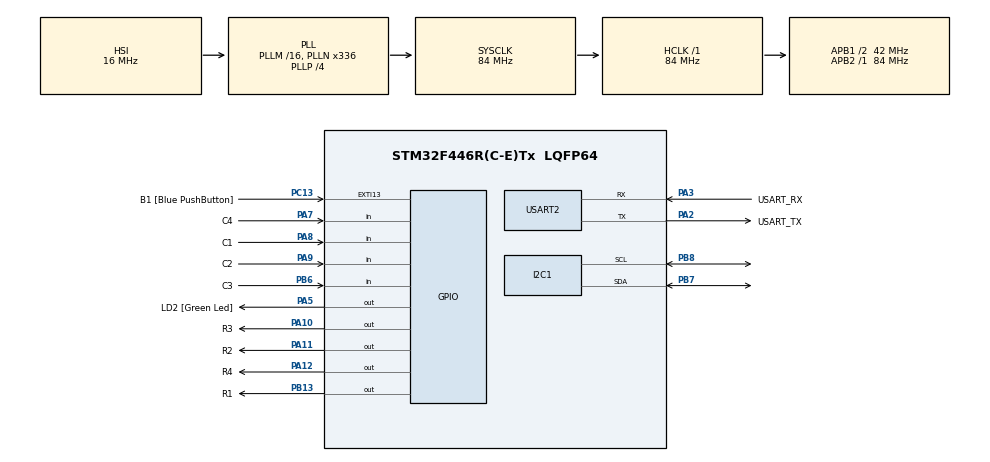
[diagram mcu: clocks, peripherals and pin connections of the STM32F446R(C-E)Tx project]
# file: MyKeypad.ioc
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Mcu.Family=STM32F4
Mcu.Name=STM32F446R(C-E)Tx
Mcu.Package=LQFP64
NVIC.PriorityGroup=NVIC_PRIORITYGROUP_0
PA10.GPIO_Label=R3
PA10.Signal=GPIO_Output
PA11.GPIO_Label=R2
PA11.Signal=GPIO_Output
PA12.GPIO_Label=R4
PA12.Signal=GPIO_Output
PA13.GPIO_Label=TMS
PA13.Mode=Serial_Wire
PA13.Signal=SYS_JTMS-SWDIO
PA14.GPIO_Label=TCK
PA14.Mode=Serial_Wire
PA14.Signal=SYS_JTCK-SWCLK
PA2.GPIO_Label=USART_TX
PA2.Mode=Asynchronous
PA2.Signal=USART2_TX
PA3.GPIO_Label=USART_RX
PA3.Mode=Asynchronous
PA3.Signal=USART2_RX
PA5.GPIO_Label=LD2 [Green Led]
PA5.Signal=GPIO_Output
PA7.GPIO_Label=C4
PA7.GPIO_PuPd=GPIO_PULLUP
PA7.Signal=GPIO_Input
PA8.GPIO_Label=C1
PA8.GPIO_PuPd=GPIO_PULLUP
PA8.Signal=GPIO_Input
PA9.GPIO_Label=C2
PA9.GPIO_PuPd=GPIO_PULLUP
PA9.Signal=GPIO_Input
PB13.GPIO_Label=R1
PB13.Signal=GPIO_Output
PB3.GPIO_Label=SWO
PB3.Signal=SYS_JTDO-SWO
PB6.GPIO_Label=C3
PB6.GPIO_PuPd=GPIO_PULLUP
PB6.Signal=GPIO_Input
PB7.Mode=I2C
PB7.Signal=I2C1_SDA
PB8.Mode=I2C
PB8.Signal=I2C1_SCL
PC13.GPIO_Label=B1 [Blue PushButton]
PC13.GPIO_ModeDefaultEXTI=GPIO_MODE_IT_FALLING
PC13.Signal=GPXTI13
PC14-OSC32_IN.Mode=LSE-External-Oscillator
PC14-OSC32_IN.Signal=RCC_OSC32_IN
PC15-OSC32_OUT.Mode=LSE-External-Oscillator
PC15-OSC32_OUT.Signal=RCC_OSC32_OUT
PH0-OSC_IN.Mode=HSE-External-Oscillator
PH0-OSC_IN.Signal=RCC_OSC_IN
PH1-OSC_OUT.Mode=HSE-External-Oscillator
PH1-OSC_OUT.Signal=RCC_OSC_OUT
ProjectManager.HeapSize=0x200
ProjectManager.StackSize=0x400
ProjectManager.TargetToolchain=STM32CubeIDE
RCC.48MHZClocksFreq_Value=84000000
RCC.AHBFreq_Value=84000000
RCC.APB1CLKDivider=RCC_HCLK_DIV2
RCC.APB1Freq_Value=42000000
RCC.APB1TimFreq_Value=84000000
RCC.APB2Freq_Value=84000000
RCC.APB2TimFreq_Value=84000000
RCC.CortexFreq_Value=84000000
RCC.FLatency-AdvancedSettings=FLASH_LATENCY_2
RCC.HCLKFreq_Value=84000000
RCC.HSE_VALUE=8000000
RCC.HSI_VALUE=16000000
RCC.PLLN=336
RCC.PLLP=RCC_PLLP_DIV4
RCC.SYSCLKFreq_VALUE=84000000
RCC.SYSCLKSource=RCC_SYSCLKSOURCE_PLLCLK
RCC.USBFreq_Value=168000000
RCC.VCOOutputFreq_Value=336000000
USART2.VirtualMode=VM_ASYNC
board=NUCLEO-F446RE

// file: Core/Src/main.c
/* USER CODE BEGIN Header */
/**
  ******************************************************************************
  * @file           : main.c
  * @brief          : Main program body
  ******************************************************************************
  ** This notice applies to any and all portions of this file
  * that are not between comment pairs USER CODE BEGIN and
  * USER CODE END. Other portions of this file, whether
  * inserted by the user or by software development tools
  * are owned by their respective copyright owners.
  *
  * COPYRIGHT(c) 2019 STMicroelectronics
  *
  * Redistribution and use in source and binary forms, with or without modification,
  * are permitted provided that the following conditions are met:
  *   1. Redistributions of source code must retain the above copyright notice,
  *      this list of conditions and the following disclaimer.
  *   2. Redistributions in binary form must reproduce the above copyright notice,
  *      this list of conditions and the following disclaimer in the documentation
  *      and/or other materials provided with the distribution.
  *   3. Neither the name of STMicroelectronics nor the names of its contributors
  *      may be used to endorse or promote products derived from this software
  *      without specific prior written permission.
  *
  * THIS SOFTWARE IS PROVIDED BY THE COPYRIGHT HOLDERS AND CONTRIBUTORS "AS IS"
  * AND ANY EXPRESS OR IMPLIED WARRANTIES, INCLUDING, BUT NOT LIMITED TO, THE
  * IMPLIED WARRANTIES OF MERCHANTABILITY AND FITNESS FOR A PARTICULAR PURPOSE ARE
  * DISCLAIMED. IN NO EVENT SHALL THE COPYRIGHT HOLDER OR CONTRIBUTORS BE LIABLE
  * FOR ANY DIRECT, INDIRECT, INCIDENTAL, SPECIAL, EXEMPLARY, OR CONSEQUENTIAL
  * DAMAGES (INCLUDING, BUT NOT LIMITED TO, PROCUREMENT OF SUBSTITUTE GOODS OR
  * SERVICES; LOSS OF USE, DATA, OR PROFITS; OR BUSINESS INTERRUPTION) HOWEVER
  * CAUSED AND ON ANY THEORY OF LIABILITY, WHETHER IN CONTRACT, STRICT LIABILITY,
  * OR TORT (INCLUDING NEGLIGENCE OR OTHERWISE) ARISING IN ANY WAY OUT OF THE USE
  * OF THIS SOFTWARE, EVEN IF ADVISED OF THE POSSIBILITY OF SUCH DAMAGE.
  *
  ******************************************************************************
  */
/* USER CODE END Header */
#include "main.h"

/* USER CODE BEGIN Includes */
//#include "i2c-lcd.h"
#include "i2c-lcd.h"
/* USER CODE END Includes */

/* USER CODE BEGIN PD */
#define R1_PORT GPIOB
#define R1_PIN GPIO_PIN_13

#define R2_PORT GPIOA
#define R2_PIN GPIO_PIN_11

#define R3_PORT GPIOA
#define R3_PIN GPIO_PIN_10

#define R4_PORT GPIOA
#define R4_PIN GPIO_PIN_12

#define C1_PORT GPIOA
#define C1_PIN GPIO_PIN_8

#define C2_PORT GPIOA
#define C2_PIN GPIO_PIN_9

#define C3_PORT GPIOB
#define C3_PIN GPIO_PIN_6

#define C4_PORT GPIOA
#define C4_PIN GPIO_PIN_7

int cursor_row = 0;
int cursor_col = 0;
int keystroke = 0;
char buf[7];

/* USER CODE END PD */

I2C_HandleTypeDef hi2c1;

UART_HandleTypeDef huart2;

void SystemClock_Config(void);
static void MX_GPIO_Init(void);
static void MX_USART2_UART_Init(void);
static void MX_I2C1_Init(void);

/* USER CODE BEGIN 0 */
uint8_t key;

char read_keypad (void);

/* USER CODE END 0 */
int main(void)
{

  /* MCU Configuration--------------------------------------------------------*/

  /* Reset of all peripherals, Initializes the Flash interface and the Systick. */
  HAL_Init();

  /* Configure the system clock */
  SystemClock_Config();

  /* Initialize all configured peripherals */
  MX_GPIO_Init();
  MX_USART2_UART_Init();
  MX_I2C1_Init();
  /* USER CODE BEGIN 2 */
	lcd_init();
	//lcd_send_cmd(0x80);

	lcd_send_string("Enter your roll: ");

	cursor_row = 1;
	cursor_col = 4;
	keystroke = 0;
	int flag = 0;
  /* USER CODE END 2 */

  /* Infinite loop */
  while (1)
  {

    /* USER CODE BEGIN 3 */
		key = read_keypad ();

		if (key!=0x01)
		{
			//lcd_send_cmd(0x85);
			lcd_put_cur(1, cursor_col);
			lcd_send_data(key);
			cursor_col = cursor_col + 1;

			buf[keystroke] = key;
			keystroke = keystroke + 1;
		}
		if(keystroke == 7) flag = 1;
		if(flag){
			lcd_clear();
			lcd_put_cur(0,0);
			lcd_send_string("Welcome ");
			lcd_put_cur(1,8);
			lcd_send_string(buf);
			flag = 0;
			keystroke = 0;
		}

  }
  /* USER CODE END 3 */
}

void SystemClock_Config(void)
{
  RCC_OscInitTypeDef RCC_OscInitStruct = {0};
  RCC_ClkInitTypeDef RCC_ClkInitStruct = {0};

  /** Configure the main internal regulator output voltage
  */
  __HAL_RCC_PWR_CLK_ENABLE();
  __HAL_PWR_VOLTAGESCALING_CONFIG(PWR_REGULATOR_VOLTAGE_SCALE3);

  /** Initializes the RCC Oscillators according to the specified parameters
  * in the RCC_OscInitTypeDef structure.
  */
  RCC_OscInitStruct.OscillatorType = RCC_OSCILLATORTYPE_HSI;
  RCC_OscInitStruct.HSIState = RCC_HSI_ON;
  RCC_OscInitStruct.HSICalibrationValue = RCC_HSICALIBRATION_DEFAULT;
  RCC_OscInitStruct.PLL.PLLState = RCC_PLL_ON;
  RCC_OscInitStruct.PLL.PLLSource = RCC_PLLSOURCE_HSI;
  RCC_OscInitStruct.PLL.PLLM = 16;
  RCC_OscInitStruct.PLL.PLLN = 336;
  RCC_OscInitStruct.PLL.PLLP = RCC_PLLP_DIV4;
  RCC_OscInitStruct.PLL.PLLQ = 2;
  RCC_OscInitStruct.PLL.PLLR = 2;
  if (HAL_RCC_OscConfig(&RCC_OscInitStruct) != HAL_OK)
  {
    Error_Handler();
  }

  /** Initializes the CPU, AHB and APB buses clocks
  */
  RCC_ClkInitStruct.ClockType = RCC_CLOCKTYPE_HCLK|RCC_CLOCKTYPE_SYSCLK
                              |RCC_CLOCKTYPE_PCLK1|RCC_CLOCKTYPE_PCLK2;
  RCC_ClkInitStruct.SYSCLKSource = RCC_SYSCLKSOURCE_PLLCLK;
  RCC_ClkInitStruct.AHBCLKDivider = RCC_SYSCLK_DIV1;
  RCC_ClkInitStruct.APB1CLKDivider = RCC_HCLK_DIV2;
  RCC_ClkInitStruct.APB2CLKDivider = RCC_HCLK_DIV1;

  if (HAL_RCC_ClockConfig(&RCC_ClkInitStruct, FLASH_LATENCY_2) != HAL_OK)
  {
    Error_Handler();
  }
}

static void MX_I2C1_Init(void)
{

  hi2c1.Instance = I2C1;
  hi2c1.Init.ClockSpeed = 100000;
  hi2c1.Init.DutyCycle = I2C_DUTYCYCLE_2;
  hi2c1.Init.OwnAddress1 = 0;
  hi2c1.Init.AddressingMode = I2C_ADDRESSINGMODE_7BIT;
  hi2c1.Init.DualAddressMode = I2C_DUALADDRESS_DISABLE;
  hi2c1.Init.OwnAddress2 = 0;
  hi2c1.Init.GeneralCallMode = I2C_GENERALCALL_DISABLE;
  hi2c1.Init.NoStretchMode = I2C_NOSTRETCH_DISABLE;
  if (HAL_I2C_Init(&hi2c1) != HAL_OK)
  {
    Error_Handler();
  }

}

static void MX_USART2_UART_Init(void)
{

  huart2.Instance = USART2;
  huart2.Init.BaudRate = 115200;
  huart2.Init.WordLength = UART_WORDLENGTH_8B;
  huart2.Init.StopBits = UART_STOPBITS_1;
  huart2.Init.Parity = UART_PARITY_NONE;
  huart2.Init.Mode = UART_MODE_TX_RX;
  huart2.Init.HwFlowCtl = UART_HWCONTROL_NONE;
  huart2.Init.OverSampling = UART_OVERSAMPLING_16;
  if (HAL_UART_Init(&huart2) != HAL_OK)
  {
    Error_Handler();
  }

}

static void MX_GPIO_Init(void)
{
  GPIO_InitTypeDef GPIO_InitStruct = {0};

  /* GPIO Ports Clock Enable */
  __HAL_RCC_GPIOC_CLK_ENABLE();
  __HAL_RCC_GPIOH_CLK_ENABLE();
  __HAL_RCC_GPIOA_CLK_ENABLE();
  __HAL_RCC_GPIOB_CLK_ENABLE();

  /*Configure GPIO pin Output Level */
  HAL_GPIO_WritePin(GPIOA, LD2_Pin|R3_Pin|R2_Pin|R4_Pin, GPIO_PIN_RESET);

  /*Configure GPIO pin Output Level */
  HAL_GPIO_WritePin(R1_GPIO_Port, R1_Pin, GPIO_PIN_RESET);

  /*Configure GPIO pin : B1_Pin */
  GPIO_InitStruct.Pin = B1_Pin;
  GPIO_InitStruct.Mode = GPIO_MODE_IT_FALLING;
  GPIO_InitStruct.Pull = GPIO_NOPULL;
  HAL_GPIO_Init(B1_GPIO_Port, &GPIO_InitStruct);

  /*Configure GPIO pins : LD2_Pin R3_Pin R2_Pin R4_Pin */
  GPIO_InitStruct.Pin = LD2_Pin|R3_Pin|R2_Pin|R4_Pin;
  GPIO_InitStruct.Mode = GPIO_MODE_OUTPUT_PP;
  GPIO_InitStruct.Pull = GPIO_NOPULL;
  GPIO_InitStruct.Speed = GPIO_SPEED_FREQ_LOW;
  HAL_GPIO_Init(GPIOA, &GPIO_InitStruct);

  /*Configure GPIO pins : C4_Pin C1_Pin C2_Pin */
  GPIO_InitStruct.Pin = C4_Pin|C1_Pin|C2_Pin;
  GPIO_InitStruct.Mode = GPIO_MODE_INPUT;
  GPIO_InitStruct.Pull = GPIO_PULLUP;
  HAL_GPIO_Init(GPIOA, &GPIO_InitStruct);

  /*Configure GPIO pin : R1_Pin */
  GPIO_InitStruct.Pin = R1_Pin;
  GPIO_InitStruct.Mode = GPIO_MODE_OUTPUT_PP;
  GPIO_InitStruct.Pull = GPIO_NOPULL;
  GPIO_InitStruct.Speed = GPIO_SPEED_FREQ_LOW;
  HAL_GPIO_Init(R1_GPIO_Port, &GPIO_InitStruct);

  /*Configure GPIO pin : C3_Pin */
  GPIO_InitStruct.Pin = C3_Pin;
  GPIO_InitStruct.Mode = GPIO_MODE_INPUT;
  GPIO_InitStruct.Pull = GPIO_PULLUP;
  HAL_GPIO_Init(C3_GPIO_Port, &GPIO_InitStruct);

}

/* USER CODE BEGIN 4 */
char read_keypad (void)
{
	/* Make ROW 1 LOW and all other ROWs HIGH */
	HAL_GPIO_WritePin (R1_PORT, R1_PIN, GPIO_PIN_RESET);  //Pull the R1 low
	HAL_GPIO_WritePin (R2_PORT, R2_PIN, GPIO_PIN_SET);  // Pull the R2 High
	HAL_GPIO_WritePin (R3_PORT, R3_PIN, GPIO_PIN_SET);  // Pull the R3 High
	HAL_GPIO_WritePin (R4_PORT, R4_PIN, GPIO_PIN_SET);  // Pull the R4 High

	if (!(HAL_GPIO_ReadPin (C1_PORT, C1_PIN)))   // if the Col 1 is low
	{
		while (!(HAL_GPIO_ReadPin (C1_PORT, C1_PIN)));   // wait till the button is pressed
		return 'D';
	}

	if (!(HAL_GPIO_ReadPin (C2_PORT, C2_PIN)))   // if the Col 2 is low
	{
		while (!(HAL_GPIO_ReadPin (C2_PORT, C2_PIN)));   // wait till the button is pressed
		return 'C';
	}

	if (!(HAL_GPIO_ReadPin (C3_PORT, C3_PIN)))   // if the Col 3 is low
	{
		while (!(HAL_GPIO_ReadPin (C3_PORT, C3_PIN)));   // wait till the button is pressed
		return 'B';
	}

	if (!(HAL_GPIO_ReadPin (C4_PORT, C4_PIN)))   // if the Col 4 is low
	{
		while (!(HAL_GPIO_ReadPin (C4_PORT, C4_PIN)));   // wait till the button is pressed
		return 'A';
	}

	/* Make ROW 2 LOW and all other ROWs HIGH */
	HAL_GPIO_WritePin (R1_PORT, R1_PIN, GPIO_PIN_SET);  //Pull the R1 low
	HAL_GPIO_WritePin (R2_PORT, R2_PIN, GPIO_PIN_RESET);  // Pull the R2 High
	HAL_GPIO_WritePin (R3_PORT, R3_PIN, GPIO_PIN_SET);  // Pull the R3 High
	HAL_GPIO_WritePin (R4_PORT, R4_PIN, GPIO_PIN_SET);  // Pull the R4 High

	if (!(HAL_GPIO_ReadPin (C1_PORT, C1_PIN)))   // if the Col 1 is low
	{
		while (!(HAL_GPIO_ReadPin (C1_PORT, C1_PIN)));   // wait till the button is pressed
		return '#';
	}

	if (!(HAL_GPIO_ReadPin (C2_PORT, C2_PIN)))   // if the Col 2 is low
	{
		while (!(HAL_GPIO_ReadPin (C2_PORT, C2_PIN)));   // wait till the button is pressed
		return '9';
	}

	if (!(HAL_GPIO_ReadPin (C3_PORT, C3_PIN)))   // if the Col 3 is low
	{
		while (!(HAL_GPIO_ReadPin (C3_PORT, C3_PIN)));   // wait till the button is pressed
		return '6';
	}

	if (!(HAL_GPIO_ReadPin (C4_PORT, C4_PIN)))   // if the Col 4 is low
	{
		while (!(HAL_GPIO_ReadPin (C4_PORT, C4_PIN)));   // wait till the button is pressed
		return '3';
	}

	/* Make ROW 3 LOW and all other ROWs HIGH */
	HAL_GPIO_WritePin (R1_PORT, R1_PIN, GPIO_PIN_SET);  //Pull the R1 low
	HAL_GPIO_WritePin (R2_PORT, R2_PIN, GPIO_PIN_SET);  // Pull the R2 High
	HAL_GPIO_WritePin (R3_PORT, R3_PIN, GPIO_PIN_RESET);  // Pull the R3 High
	HAL_GPIO_WritePin (R4_PORT, R4_PIN, GPIO_PIN_SET);  // Pull the R4 High

	if (!(HAL_GPIO_ReadPin (C1_PORT, C1_PIN)))   // if the Col 1 is low
	{
		while (!(HAL_GPIO_ReadPin (C1_PORT, C1_PIN)));   // wait till the button is pressed
		return '0';
	}

	if (!(HAL_GPIO_ReadPin (C2_PORT, C2_PIN)))   // if the Col 2 is low
	{
		while (!(HAL_GPIO_ReadPin (C2_PORT, C2_PIN)));   // wait till the button is pressed
		return '8';
	}

	if (!(HAL_GPIO_ReadPin (C3_PORT, C3_PIN)))   // if the Col 3 is low
	{
		while (!(HAL_GPIO_ReadPin (C3_PORT, C3_PIN)));   // wait till the button is pressed
		return '5';
	}

	if (!(HAL_GPIO_ReadPin (C4_PORT, C4_PIN)))   // if the Col 4 is low
	{
		while (!(HAL_GPIO_ReadPin (C4_PORT, C4_PIN)));   // wait till the button is pressed
		return '2';
	}

	/* Make ROW 4 LOW and all other ROWs HIGH */
	HAL_GPIO_WritePin (R1_PORT, R1_PIN, GPIO_PIN_SET);  //Pull the R1 low
	HAL_GPIO_WritePin (R2_PORT, R2_PIN, GPIO_PIN_SET);  // Pull the R2 High
	HAL_GPIO_WritePin (R3_PORT, R3_PIN, GPIO_PIN_SET);  // Pull the R3 High
	HAL_GPIO_WritePin (R4_PORT, R4_PIN, GPIO_PIN_RESET);  // Pull the R4 High

	if (!(HAL_GPIO_ReadPin (C1_PORT, C1_PIN)))   // if the Col 1 is low
	{
		while (!(HAL_GPIO_ReadPin (C1_PORT, C1_PIN)));   // wait till the button is pressed
		return '*';
	}

	if (!(HAL_GPIO_ReadPin (C2_PORT, C2_PIN)))   // if the Col 2 is low
	{
		while (!(HAL_GPIO_ReadPin (C2_PORT, C2_PIN)));   // wait till the button is pressed
		return '7';
	}

	if (!(HAL_GPIO_ReadPin (C3_PORT, C3_PIN)))   // if the Col 3 is low
	{
		while (!(HAL_GPIO_ReadPin (C3_PORT, C3_PIN)));   // wait till the button is pressed
		return '4';
	}

	if (!(HAL_GPIO_ReadPin (C4_PORT, C4_PIN)))   // if the Col 4 is low
	{
		while (!(HAL_GPIO_ReadPin (C4_PORT, C4_PIN)));   // wait till the button is pressed
		return '1';
	}

}
/* USER CODE END 4 */

void Error_Handler(void)
{
}
